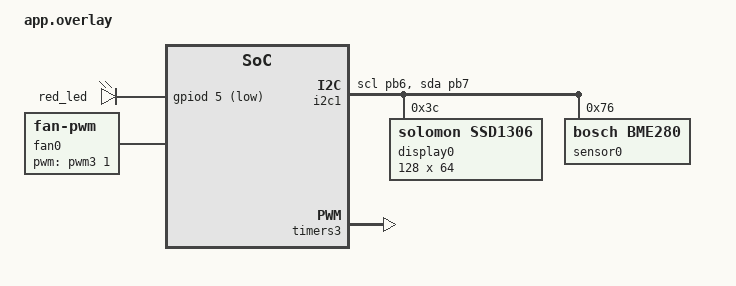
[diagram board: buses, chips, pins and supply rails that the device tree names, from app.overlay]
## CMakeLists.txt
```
set(BOARD black_f407ve)

cmake_minimum_required(VERSION 3.28.0)
find_package(Zephyr)
project(Distributed-Smart-Fan-Controller-and-Condition-Monitoring-System)

add_subdirectory(src)
```

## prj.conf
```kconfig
CONFIG_CPP=y
CONFIG_STD_CPP23=y

CONFIG_GLIBCXX_LIBCPP=y

CONFIG_I2C=y

CONFIG_DISPLAY=y
CONFIG_SSD1306=y
CONFIG_CHARACTER_FRAMEBUFFER=y
CONFIG_HEAP_MEM_POOL_SIZE=2048

CONFIG_SENSOR=y
CONFIG_SENSOR_ASYNC_API=y
CONFIG_BME280=y
CONFIG_BME280_MODE_NORMAL=y
CONFIG_BME280_TEMP_OVER_16X=y
CONFIG_BME280_HUMIDITY_OVER_1X=y
CONFIG_BME280_PRESS_OVER_1X=y
CONFIG_BME280_STANDBY_62MS=y
CONFIG_BME280_FILTER_OFF=y

CONFIG_PWM=y
CONFIG_PWM_CAPTURE=y
```

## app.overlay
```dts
#include <zephyr/dt-bindings/gpio/gpio.h>
#include <zephyr/dt-bindings/pwm/pwm.h>
#include <zephyr/dt-bindings/counter/counter-capture.h>

/ {
	aliases {
		error-led = &red_led;
		readings-display = &display0;
		room-temp-sensor = &sensor0;
		control-fan = &fan0;
	};

	leds {
		red_led: pd5_led {
			gpios = <&gpiod 5 GPIO_ACTIVE_LOW>;
		};
	};

	fan0: arctic_p12max {
		compatible = "fan-pwm";
		pwms = <&pwm3 1 PWM_USEC(40) PWM_POLARITY_NORMAL>;
		counter-captures = <&counter2 1 COUNTER_CAPTURE_RISING_EDGE>;
	};
};

&i2c1 {
	status = "okay";
	pinctrl-0 = <&i2c1_scl_pb6 &i2c1_sda_pb7>;
	pinctrl-names = "default";

	display0: ssd1306@3C {
		compatible = "solomon,ssd1306";
		reg = <0x3C>;
		status = "okay";

		height = <64>;
		width = <128>;
		segment-offset = <0>;
		page-offset = <0>;
		display-offset = <0>;
		multiplex-ratio = <63>;
		prechargep = <0x22>;
	};

	sensor0: bme280@76 {
		compatible = "bosch,bme280";
		reg = <0x76>;
		status = "okay";
	};
};

&timers2 {

	pwm {
		status = "disabled";
	};

	counter2: counter {
		#counter-capture-cells = <0x2>;
		status = "okay";
		pinctrl-0 = <&tim2_ch2_pa1>;
		pinctrl-names = "default";
	};
};

&timers3 {
	status = "okay";

		pwm3: pwm {
			status = "okay";
			pinctrl-0 = <&tim3_ch1_pc6>;
			pinctrl-names = "default";
		}; 
};
```

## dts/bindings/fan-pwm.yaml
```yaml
include: base.yaml

description: |
  4-wire PC case fan.

compatible: "fan-pwm"

properties:
  pwms:
    required: true
    type: phandle-array
    description: |
      Reference to a PWM instance.

      Includes the PWM channel, the waveform period and
      the PWM polarity.
```

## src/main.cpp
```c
/*
*
*	Composition Root
*
*/

#include "grid_printer.hpp"
#include "grid_printer_interface.hpp"

#include "readings_reporter.hpp"

#include "temperature_reader.hpp"
#include "temperature_reader_interface.hpp"

#include "pwm_generator.hpp"
#include "pwm_generator_interface.hpp"

#include "pulse_reader.hpp"
#include "pulse_reader_interface.hpp"

#include "fan_controller.hpp"

#include "fan_curve.hpp"
#include "feedback_controller.hpp"

#include "control_thread.hpp"
#include "report_thread.hpp"
#include "threads_scheduler.hpp"

#include <cstdint>
#include <array>

#include <zephyr/devicetree.h>
#include <zephyr/device.h>
#include <zephyr/rtio/rtio.h>
#include <zephyr/drivers/gpio.h>
#include <zephyr/drivers/sensor.h>
#include <zephyr/drivers/pwm.h>
#include <zephyr/drivers/counter.h>
#include <zephyr/drivers/counter/stm32.h>

#define DISPLAY0_ALIAS readings_display
#define SENSOR0_ALIAS room_temp_sensor
#define FAN0_ALIAS control_fan

#define COUNTER_CAPTURE_ADDITIONAL_FLAGS (COUNTER_CAPTURE_STM32_PRESCALER_DIV1 | COUNTER_CAPTURE_STM32_FILTER_DTS_DIV2_N6)

DEFINE_TEMPERATURE_SENSOR(SENSOR0_ALIAS)

int main(void) {
	static const struct gpio_dt_spec error_led = GPIO_DT_SPEC_GET(DT_ALIAS(error_led), gpios);
	gpio_pin_configure_dt(&error_led, GPIO_OUTPUT_ACTIVE);


	static grid_printer::DisplayGrid dashboard_grid{DEVICE_DT_GET(DT_ALIAS(DISPLAY0_ALIAS))};

	static temperature_reader::TemperatureSignal room_temperature{TEMPERATURE_SENSOR_DEVICE(SENSOR0_ALIAS)};

	static pwm_generator::PwmSignal fan_pwm{PWM_DT_SPEC_GET(DT_ALIAS(FAN0_ALIAS))};

	static pulse_reader::PulseSignal fan_tachometer{INPUT_CAPTURE_TIMER_DEVICE(FAN0_ALIAS), COUNTER_CAPTURE_ADDITIONAL_FLAGS};

	static fan_controller::FourWireFan arctic_p12_max{fan_pwm, fan_tachometer, {{300}, {3300}, {400}}};

	static readings_reporter::Dashboard controller_state{dashboard_grid};

	std::array<fan_curve::Node, 10> sample_nodes{{
		{250, 500}, {280, 1300}, {300, 2000}, {301, 2000}, {302, 2000},
		{303, 2000}, {304, 2000}, {305, 2000}, {306, 2000}, {307, 2000}
	}};

	static fan_curve::FanCurve sample_curve{sample_nodes};

	static feedback_controller::ClosedLoopSystem smart_controller;

	static control_thread::ControlThread feedback_controller{arctic_p12_max, room_temperature, sample_curve, smart_controller};

	static report_thread::ReportThread report_updater{controller_state};

	static threads_scheduler::ThreadsScheduler system_supervisor{feedback_controller, report_updater};

	if (system_supervisor.error_get() != threads_scheduler::ErrorCode::Ok) {
		gpio_pin_toggle_dt(&error_led);

		while (1) {}
	}

	if (system_supervisor.runtime_loop() != threads_scheduler::ErrorCode::Ok) {
		gpio_pin_toggle_dt(&error_led);

		while (1) {}
	}

	while (1) {}

	return 0;
}
```

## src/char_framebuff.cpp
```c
#include "char_framebuff.hpp"
#include <cstdint>
#include <cstddef>
#include <string_view>
#include <zephyr/device.h>
#include <zephyr/display/cfb.h>

char_framebuff::ErrorCode char_framebuff::CharFramebuff::device_set(const struct device* const monochrome_display_device_ptr) {

	if (!device_is_ready(monochrome_display_device_ptr)) {
		this->error.code = char_framebuff::ErrorCode::DeviceUnready;
		return this->error.code;
	}

	this->error.return_value = cfb_framebuffer_init(monochrome_display_device_ptr);

	if (this->error.return_value != 0) {
		this->error.code = char_framebuff::ErrorCode::CfbInit;
		return this->error.code;
	}

	this->display.device_ptr = monochrome_display_device_ptr;

	this->display.width_px = cfb_get_display_parameter(this->display.device_ptr, CFB_DISPLAY_WIDTH);
	this->display.height_px = cfb_get_display_parameter(this->display.device_ptr, CFB_DISPLAY_HEIGHT);
	this->error.code = char_framebuff::ErrorCode::Ok;
	return this->error.code;
}

char_framebuff::ErrorCode char_framebuff::CharFramebuff::font_set(uint8_t font_idx) {

	if (this->error.code == char_framebuff::ErrorCode::DeviceUnready || this->error.code == char_framebuff::ErrorCode::CfbInit) {
		return this->error.code;
	}


	if (font_idx > cfb_get_numof_fonts(this->display.device_ptr)) {
		this->error.code = char_framebuff::ErrorCode::Param;
		return this->error.code;
	}

	this->error.return_value = cfb_framebuffer_set_font(this->display.device_ptr, font_idx);

	if (this->error.return_value != 0) {
		this->error.code = char_framebuff::ErrorCode::CfbFontSet;
		return this->error.code;
	}

	this->font.idx = font_idx;
	this->error.return_value = cfb_get_font_size(this->display.device_ptr, this->font.idx, &(this->font.width_px), &(this->font.height_px));

	if (this->error.return_value != 0) {
		this->error.code = char_framebuff::ErrorCode::CfbFontSizeGet;
		return this->error.code;
	}

	this->error.code = char_framebuff::ErrorCode::Ok;
	return this->error.code;
}

char_framebuff::ErrorCode char_framebuff::CharFramebuff::font_kerning_set(int8_t font_kerning_px) {

	if (this->error.code == char_framebuff::ErrorCode::DeviceUnready || this->error.code == char_framebuff::ErrorCode::CfbInit) {
		return this->error.code;
	}

	this->error.return_value = cfb_set_kerning(this->display.device_ptr, font_kerning_px);

	if (this->error.return_value != 0) {
		this->error.code = char_framebuff::ErrorCode::CfbFontKerningSet;
		return this->error.code;
	}

	this->font.kerning_px = font_kerning_px;
	this->error.code = char_framebuff::ErrorCode::Ok;
	return this->error.code;
}

char_framebuff::CharFramebuff::CharFramebuff(const struct device* const monochrome_display_device_ptr) {
	this->device_set(monochrome_display_device_ptr);

	if (this->error.code != char_framebuff::ErrorCode::Ok) {
		return;
	}

	this->font_set(0);

	if (this->error.code != char_framebuff::ErrorCode::Ok) {
		return;
	}

	this->font_kerning_set(0);

	if (this->error.code != char_framebuff::ErrorCode::Ok) {
		return;
	}

	this->error.code = char_framebuff::ErrorCode::Ok;
}

char_framebuff::CharFramebuff::~CharFramebuff() {
	cfb_framebuffer_deinit(this->display.device_ptr);
}

char_framebuff::ErrorCode char_framebuff::CharFramebuff::screen_clear() {

	if (this->error.code == char_framebuff::ErrorCode::DeviceUnready || this->error.code == char_framebuff::ErrorCode::CfbInit) {
		return this->error.code;
	}

	this->error.return_value = cfb_framebuffer_clear(this->display.device_ptr, false);

	if (this->error.return_value != 0) {
		this->error.code = char_framebuff::ErrorCode::CfbScreenClear;
	}

	this->error.code = char_framebuff::ErrorCode::Ok;
	return this->error.code;
}

char_framebuff::ErrorCode char_framebuff::CharFramebuff::string_load(const std::string_view input_string, const size_t row_idx, const size_t column_idx) {

	if (this->error.code == char_framebuff::ErrorCode::DeviceUnready || this->error.code == char_framebuff::ErrorCode::CfbInit ||
	this->error.code == char_framebuff::ErrorCode::CfbFontSet || this->error.code == char_framebuff::ErrorCode::CfbFontSizeGet ||
	this->error.code == char_framebuff::ErrorCode::CfbFontKerningSet) {
		return this->error.code;
	}

	if (this->display.width_px < this->font.width_px || this->display.height_px < this->font.height_px) {
		this->error.code = char_framebuff::ErrorCode::DisplayResolution;
		return this->error.code;
	}

	if (row_idx > (this->display.height_px / this->font.height_px) - 1 || column_idx > (this->display.width_px / this->font.width_px) - 1) {
		this->error.code = char_framebuff::ErrorCode::Param;
		return this->error.code;
	}

	if (input_string.size() > (this->display.width_px / this->font.width_px) - column_idx) {
		this->error.code = char_framebuff::ErrorCode::Param;
		return this->error.code;
	}

	char input_string_c_str[(this->display.width_px / this->font.width_px) + 1];
	input_string.copy(input_string_c_str, input_string.size());
	input_string_c_str[input_string.size()] = '\0';

	this->error.return_value = cfb_draw_text(this->display.device_ptr, input_string_c_str, static_cast<int16_t>(column_idx * this->font.width_px),
	static_cast<int16_t>(row_idx * this->font.height_px));

	if (this->error.return_value != 0) {
		this->error.code = char_framebuff::ErrorCode::CfbStringLoad;
	}

	this->error.code = char_framebuff::ErrorCode::Ok;
	return this->error.code;
}

char_framebuff::ErrorCode char_framebuff::CharFramebuff::screen_print() {

	if (this->error.code == char_framebuff::ErrorCode::DeviceUnready || this->error.code == char_framebuff::ErrorCode::CfbInit) {
		return this->error.code;
	}

	this->error.return_value = cfb_framebuffer_finalize(this->display.device_ptr);

	if (this->error.return_value != 0) {
		this->error.code = char_framebuff::ErrorCode::CfbScreenPrint;
	}

	this->error.code = char_framebuff::ErrorCode::Ok;
	return this->error.code;
}

char_framebuff::ErrorState char_framebuff::CharFramebuff::error_state_get() {
	return this->error;
}
```

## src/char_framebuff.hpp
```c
#ifndef CHAR_FRAMEBUFF_HPP
#define CHAR_FRAMEBUFF_HPP

#include <cstddef>
#include <cstdint>
#include <string_view>
#include <zephyr/device.h>
#include <zephyr/display/cfb.h>

enum class DisplayErrors:uint8_t {
	Ok,
	Device,
	Param,
	CfbInit,
	CfbOperation
};

struct DisplayErrorReport {
	DisplayErrors display;
	int cfb;
};

class MonochromeDisplay {
	public:
		MonochromeDisplay(const struct device* const monochrome_display_dt_spec);
		DisplayErrors screen_clear(void);
		DisplayErrors string_load(const std::string_view input_string, const size_t row_idx, const size_t column_idx);
		DisplayErrors screen_print(void);

	private:
		const struct device* const dt_spec;
		DisplayErrorReport error_report;
};

#endif
```

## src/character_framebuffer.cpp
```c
#include "character_framebuffer.hpp"
#include <cstdint>
#include <cstddef>
#include <string_view>
#include <zephyr/device.h>
#include <zephyr/display/cfb.h>

z_cbf::CharacterFramebuffer::TargetDisplay z_cbf::CharacterFramebuffer::init_operations(const struct device* const monochrome_display_device_ptr) {

	if (!device_is_ready(monochrome_display_device_ptr)) {
		this->error = {z_cbf::ErrorCode::DeviceUnready, 0};
		return {};
	}

	this->error.return_value = cfb_framebuffer_init(monochrome_display_device_ptr);

	if (this->error.return_value != 0) {
		this->error.code = z_cbf::ErrorCode::CfbInit;
		return {};
	}

	this->system.cfb_init_flag = 1;
	TargetDisplay display{{monochrome_display_device_ptr},
	{static_cast<size_t>(cfb_get_display_parameter(monochrome_display_device_ptr, CFB_DISPLAY_WIDTH))},
	{static_cast<size_t>(cfb_get_display_parameter(monochrome_display_device_ptr, CFB_DISPLAY_HEIGHT))}};

	if (!display.width_px || !display.height_px) {
		this->error = {z_cbf::ErrorCode::DisplayResolution, 0};
		return {};
	}

	this->system.cfb_ready_flag = 1;
	this->error = {z_cbf::ErrorCode::Ok, 0};
	return display;

}

z_cbf::ErrorCode z_cbf::CharacterFramebuffer::font_set(uint8_t font_idx) {

	if (!this->system.cfb_ready_flag) {
		return this->error.code;
	}

	if (font_idx >= cfb_get_numof_fonts(this->display.device_ptr)) {
		this->error = {z_cbf::ErrorCode::ParamFontIndex, 0};
		return this->error.code;
	}

	this->system.font_ready_flag = 0;
	this->error.return_value = cfb_framebuffer_set_font(this->display.device_ptr, font_idx);

	if (this->error.return_value != 0) {
		this->error.code = z_cbf::ErrorCode::CfbFontSet;
		return this->error.code;
	}

	this->font.idx = font_idx;
	this->error.return_value = cfb_get_font_size(this->display.device_ptr, this->font.idx, &(this->font.width_px), &(this->font.height_px));

	if (this->error.return_value != 0) {
		this->error.code = z_cbf::ErrorCode::CfbFontSizeGet;
		return this->error.code;
	}

	if (this->display.width_px < this->font.width_px || this->display.height_px < this->font.height_px) {
		this->error = {z_cbf::ErrorCode::DisplayResolution, 0};
		return this->error.code;
	}

	this->system.font_ready_flag = 1;
	this->error = {z_cbf::ErrorCode::Ok, 0};
	return this->error.code;
}

z_cbf::CharacterFramebuffer::CharacterFramebuffer(const struct device* const monochrome_display_device_ptr) :
display{init_operations(monochrome_display_device_ptr)} {

	if (!this->system.cfb_ready_flag) {
		return;
	}

	this->error.return_value = cfb_set_kerning(this->display.device_ptr, 0);

	if (this->error.return_value != 0) {
		this->error.code = z_cbf::ErrorCode::CfbFontKerningSet;
		return;
	}

	if (this->font_set(0) != z_cbf::ErrorCode::Ok) {
		return;
	}

	this->error = {z_cbf::ErrorCode::Ok, 0};
}

z_cbf::CharacterFramebuffer::~CharacterFramebuffer() {

	if (this->system.cfb_init_flag) {
		cfb_framebuffer_deinit(this->display.device_ptr);
	}
}

z_cbf::ErrorCode z_cbf::CharacterFramebuffer::ram_clear() {

	if (!this->system.cfb_ready_flag) {
		return this->error.code;
	}

	this->error.return_value = cfb_framebuffer_clear(this->display.device_ptr, false);

	if (this->error.return_value != 0) {
		this->error.code = z_cbf::ErrorCode::CfbRamClear;
		return this->error.code;
	}

	this->error = {z_cbf::ErrorCode::Ok, 0};
	return this->error.code;
}

z_cbf::ErrorCode z_cbf::CharacterFramebuffer::string_load(const std::string_view input_string, const size_t row_idx, const size_t column_idx) {

	if (!this->system.font_ready_flag) {
		return this->error.code;
	}

	if (row_idx > (this->display.height_px / this->font.height_px) - 1 || column_idx > (this->display.width_px / this->font.width_px) - 1) {
		this->error = {z_cbf::ErrorCode::ParamPositionIndex, 0};
		return this->error.code;
	}

	if (input_string.size() > (this->display.width_px / this->font.width_px) - column_idx) {
		this->error = {z_cbf::ErrorCode::ParamStringLength, 0};
		return this->error.code;
	}

	if (input_string.at(input_string.size()) != '\0') {
		this->error = {z_cbf::ErrorCode::ParamStringNull, 0};
		return this->error.code;
	}

	this->error.return_value = cfb_draw_text(this->display.device_ptr, input_string.data(),
	static_cast<int16_t>(column_idx * this->font.width_px),
	static_cast<int16_t>(row_idx * this->font.height_px));

	if (this->error.return_value != 0) {
		this->error.code = z_cbf::ErrorCode::CfbStringLoad;
		return this->error.code;
	}

	this->error = {z_cbf::ErrorCode::Ok, 0};
	return this->error.code;
}

z_cbf::ErrorCode z_cbf::CharacterFramebuffer::ram_write() {

	if (!this->system.cfb_ready_flag) {
		return this->error.code;
	}

	this->error.return_value = cfb_framebuffer_finalize(this->display.device_ptr);

	if (this->error.return_value != 0) {
		this->error.code = z_cbf::ErrorCode::CfbRamWrite;
		return this->error.code;
	}

	this->error = {z_cbf::ErrorCode::Ok, 0};
	return this->error.code;
}

z_cbf::ErrorState z_cbf::CharacterFramebuffer::error_state_get() const {
		return this->error;
}
```

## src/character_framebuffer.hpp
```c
#ifndef CHARACTER_FRAMEBUFF_HPP
#define CHARACTER_FRAMEBUFF_HPP

#include <cstddef>
#include <cstdint>
#include <string_view>
#include <zephyr/device.h>

namespace z_cbf {


	enum class [[nodiscard("Discarding an error of this type may result in a bug")]] ErrorCode {
		Ok,
		DeviceUnready,
		DisplayResolution,
		ParamPositionIndex,
		ParamStringLength,
		ParamStringNull,
		ParamFontIndex,
		CfbInit,
		CfbFontSet,
		CfbFontSizeGet,
		CfbFontKerningSet,
		CfbRamClear,
		CfbStringLoad,
		CfbRamWrite
	};

	struct ErrorState {
		ErrorCode code = z_cbf::ErrorCode::Ok;
		int return_value = 0;
	};

	class CharacterFramebuffer {
		public:
			explicit CharacterFramebuffer(const struct device* const monochrome_display_device_ptr);
			~CharacterFramebuffer();

			CharacterFramebuffer(const CharacterFramebuffer&) = delete;
			CharacterFramebuffer(CharacterFramebuffer&&) = delete;
			CharacterFramebuffer& operator=(const CharacterFramebuffer&) = delete;
			CharacterFramebuffer& operator=(CharacterFramebuffer&&) = delete;

			z_cbf::ErrorCode font_set(uint8_t font_idx);
			z_cbf::ErrorCode ram_clear();
			z_cbf::ErrorCode string_load(const std::string_view input_string, const size_t row_idx, const size_t column_idx);
			z_cbf::ErrorCode ram_write();

			[[nodiscard("Called error getter and discarded its return value")]] z_cbf::ErrorState error_state_get() const;

		private:
			struct TargetDisplay {
				const struct device* const device_ptr = nullptr;
				const size_t width_px = 0;
				const size_t height_px = 0;
			};

			struct FontState {
				uint8_t idx = 0;
				uint8_t width_px = 0;
				uint8_t height_px = 0;
				int8_t kerning_px = 0;
			};

			struct SystemState {
				uint8_t cfb_init_flag = 0;
				uint8_t cfb_ready_flag = 0;
				uint8_t font_ready_flag = 0;
			};

			z_cbf::ErrorState error;
			SystemState system;
			TargetDisplay display;
			FontState font;

			TargetDisplay init_operations(const struct device* const monochrome_display_device_ptr);
	};
}

#endif
```

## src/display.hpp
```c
#ifndef DISPLAY_HPP
#define DISPLAY_HPP

#include <cstddef>
#include <string>

using namespace std;

typedef enum {
	DISPLAY_ERR_OK = 0,
	DISPLAY_ERR_DEVICE,
	DISPLAY_ERR_PARAM,
	DISPLAY_ERR_BUFF_INIT,
	DISPLAY_ERR_FONT_SIZE,
	DISPLAY_ERR_BUFF_CLEAR,
	DISPLAY_ERR_BUFF_STRING,
	DISPLAY_ERR_BUFF_WRITE
} display_errors;

class monochrome_display {
	public:
		monochrome_display(const struct device* const monochrome_display_dt_spec, const string monochrome_display_alias);
		display_errors screen_clear(void);
		display_errors string_print(string input_string, size_t row_idx, size_t column_idx);

	private:
		const struct device* const dt_spec;
		const string alias;
		const size_t height_px;
		const size_t width_px;
		size_t font_height_px;
		size_t font_width_px;
		display_errors error_code;
};

class monochrome_display_controller {
	private:
		display_errors init_sequence(const struct device* const monochrome_display_dt_spec);
		const display_errors init_status;
	public:
		monochrome_display_controller(const struct device* const monochrome_display_dt_spec, const string monochrome_display_alias);
		monochrome_display display;
};

#endif
```

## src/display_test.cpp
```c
#include <zephyr/drivers/gpio.h>
#include <zephyr/devicetree.h>
#include <zephyr/device.h>
#include "character_framebuffer.hpp"

#define DISPLAY0_ALIAS readings_display

int main(void) {
	character_framebuffer::ErrorCode error_code = character_framebuffer::ErrorCode::Ok;
	static const struct gpio_dt_spec error_led = GPIO_DT_SPEC_GET(DT_ALIAS(red_led), gpios);

	gpio_pin_configure_dt(&error_led, GPIO_OUTPUT_ACTIVE);

	static character_framebuffer::CharacterFramebuffer cb0{DEVICE_DT_GET(DT_ALIAS(DISPLAY0_ALIAS))};

	error_code = cb0.ram_clear();

	if (error_code != character_framebuffer::ErrorCode::Ok) {
		gpio_pin_toggle_dt(&error_led);

		while (1) {}
	}

	error_code = cb0.ram_string_write("UPCOMING", 0, 2);

	if (error_code != character_framebuffer::ErrorCode::Ok) {
		gpio_pin_toggle_dt(&error_led);

		while (1) {}
	}

	error_code = cb0.ram_string_write("PROJECT!", 1, 2);

	if (error_code != character_framebuffer::ErrorCode::Ok) {
		gpio_pin_toggle_dt(&error_led);

		while (1) {}
	}

	error_code = cb0.ram_string_write("STAY TUNED:)", 3, 0);

	if (error_code != character_framebuffer::ErrorCode::Ok) {
		gpio_pin_toggle_dt(&error_led);
	}

	error_code = cb0.ram_flush();

	if (error_code != character_framebuffer::ErrorCode::Ok) {
		gpio_pin_toggle_dt(&error_led);

		while(1) {}
	}

	error_code = cb0.ram_string_write("ERROR TRIGGETING", 0, 0);

	if (error_code != character_framebuffer::ErrorCode::ParamStringLength) {
		gpio_pin_toggle_dt(&error_led);

		while(1) {}
	}

	error_code = cb0.font_set(99);

	if (error_code != character_framebuffer::ErrorCode::ParamFontIndex) {
		gpio_pin_toggle_dt(&error_led);

		while(1) {}
	}

	while (1) {}

	return 0;
}
```

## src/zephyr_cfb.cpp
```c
#include <cstdint>
#include <cstddef>
#include <string>
#include <zephyr/devicetree.h>
#include <zephyr/display/cfb.h>
#include "display.hpp"

using namespace std;

monochrome_display::monochrome_display(const struct device* const monochrome_display_dt_spec, const string monochrome_display_alias) :

dt_spec{monochrome_display_dt_spec},

alias{monochrome_display_alias},

height_px{static_cast<size_t>(cfb_get_display_parameter(monochrome_display_dt_spec, CFB_DISPLAY_HEIGHT))},

width_px{static_cast<size_t>(cfb_get_display_parameter(monochrome_display_dt_spec, CFB_DISPLAY_WIDTH))},

font_height_px{0},

font_width_px{0},

error_code{DISPLAY_ERR_OK} {

	const struct device* const dt_spec_copy = this->dt_spec;
	size_t* font_width_px_copy = &(this->font_width_px);
	size_t* font_height_px_copy = &(this->font_height_px);

	if (cfb_get_font_size(dt_spec_copy, 0, reinterpret_cast<uint8_t*>(font_width_px_copy), reinterpret_cast<uint8_t*>(font_height_px_copy)) != 0) {
		this->error_code = DISPLAY_ERR_FONT_SIZE;
	}

	else {
		this->error_code = DISPLAY_ERR_OK;
	}
}

display_errors monochrome_display::screen_clear(void) {
	const struct device* const dt_spec_copy = this->dt_spec;

	if (this->error_code != DISPLAY_ERR_OK) {
		return this->error_code;
	}

	if (cfb_framebuffer_clear(dt_spec_copy, true) != 0) {
		this->error_code = DISPLAY_ERR_BUFF_CLEAR;
		return this->error_code;
	}

	if (cfb_framebuffer_finalize(dt_spec_copy) != 0) {
		this->error_code = DISPLAY_ERR_BUFF_WRITE;
		return this->error_code;
	}

	return this->error_code;
}

display_errors monochrome_display::string_print(string input_string, size_t row_idx, size_t column_idx) {
	const struct device* const dt_spec_copy = this->dt_spec;
	const size_t font_width_px_copy = this->font_width_px;
	const size_t font_height_px_copy = this->font_height_px;

	if (this->error_code != DISPLAY_ERR_OK) {
		return this->error_code;
	}

	if (row_idx + 1 > (this->height_px / this->font_height_px) || input_string.length() + column_idx > (this->width_px / this->font_width_px)) {
		this->error_code = DISPLAY_ERR_PARAM;
		return this->error_code;
	}

	if (cfb_print(dt_spec_copy, input_string.c_str(), static_cast<int16_t>(column_idx * font_width_px_copy), static_cast<int16_t>(row_idx * font_height_px_copy)) != 0) {
		this->error_code = DISPLAY_ERR_BUFF_STRING;
		return this->error_code;
	}

	if (cfb_framebuffer_finalize(dt_spec_copy) != 0) {
		this->error_code = DISPLAY_ERR_BUFF_WRITE;
		return this->error_code;
	}

	return this->error_code;
}

display_errors monochrome_display_controller::init_sequence(const struct device* const monochrome_display_dt_spec) {

	if (!device_is_ready(monochrome_display_dt_spec)) {
		return DISPLAY_ERR_DEVICE;
	}

	if (cfb_framebuffer_init(monochrome_display_dt_spec) != 0) {
		return DISPLAY_ERR_BUFF_INIT;
	}

	return DISPLAY_ERR_OK;
}

monochrome_display_controller::monochrome_display_controller(const struct device* const monochrome_display_dt_spec, const string monochrome_display_alias) :

init_status{init_sequence(monochrome_display_dt_spec)},

display{monochrome_display_dt_spec, monochrome_display_alias} {}
```
